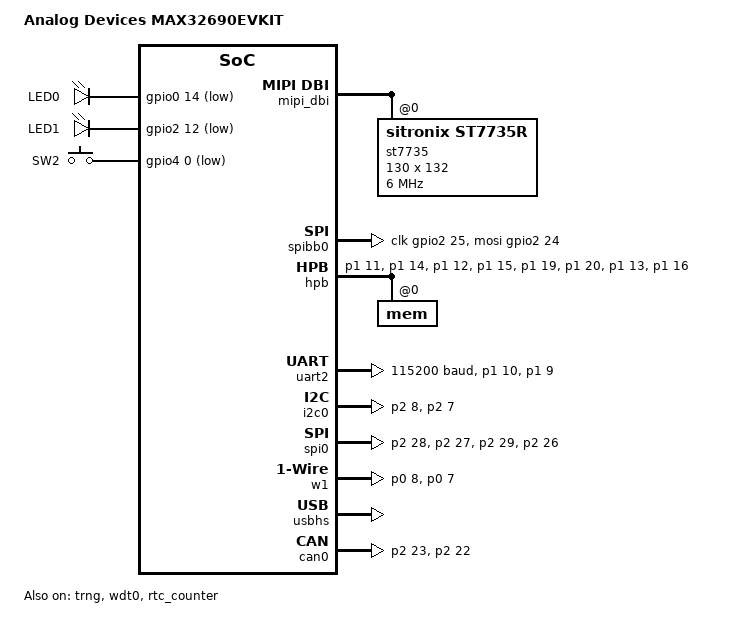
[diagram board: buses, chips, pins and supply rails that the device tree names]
/*
 * Copyright (c) 2023-2025 Analog Devices, Inc.
 *
 * SPDX-License-Identifier: Apache-2.0
 */

/dts-v1/;

#include <adi/max32/max32690.dtsi>
#include <adi/max32/max32690-pinctrl.dtsi>
#include <zephyr/dt-bindings/gpio/adi-max32-gpio.h>
#include <zephyr/dt-bindings/memory-controller/adi-max32-hpb.h>
#include <zephyr/dt-bindings/input/input-event-codes.h>
#include <zephyr/dt-bindings/mipi_dbi/mipi_dbi.h>

/ {
	model = "Analog Devices MAX32690EVKIT";
	compatible = "adi,max32690evkit";

	chosen {
		zephyr,console = &uart2;
		zephyr,shell-uart = &uart2;
		zephyr,sram = &sram0;
		zephyr,flash = &flash0;
		zephyr,display = &st7735;
		zephyr,canbus = &can0;
	};

	leds {
		compatible = "gpio-leds";

		red_led: led_0 {
			gpios = <&gpio0 14 GPIO_ACTIVE_LOW>;
			label = "LED0";
		};

		green_led: led_1 {
			gpios = <&gpio2 12 GPIO_ACTIVE_LOW>;
			label = "LED1";
		};
	};

	buttons {
		compatible = "gpio-keys";

		pb0: pb0 {
			gpios = <&gpio4 0 (GPIO_PULL_UP | GPIO_ACTIVE_LOW)>;
			label = "SW2";
			zephyr,code = <INPUT_KEY_0>;
		};
	};

	aliases {
		led0 = &red_led;
		led1 = &green_led;
		sw0 = &pb0;
		watchdog0 = &wdt0;
	};

	mipi_dbi {
		compatible = "zephyr,mipi-dbi-spi";
		spi-dev = <&spibb0>;
		#address-cells = <1>;
		#size-cells = <0>;

		status = "okay";

		st7735: st7735@0 {
			compatible = "sitronix,st7735r";
			mipi-max-frequency = <DT_FREQ_M(6)>;
			mipi-mode = "MIPI_DBI_MODE_SPI_3WIRE";

			reg = <0>;
			width = <130>;
			height = <132>;
			x-offset = <0>;
			y-offset = <0>;
			madctl = <0xc0>;
			colmod = <0x05>;
			vmctr1 = <0x51>;
			pwctr1 = [02 02];
			pwctr2 = [c5];
			pwctr3 = [0d 00];
			pwctr4 = [8d 1a];
			pwctr5 = [8d ee];
			frmctr1 = [02 35 36];
			frmctr2 = [02 35 36];
			frmctr3 = [02 35 36 02 35 36];
			gamctrp1 = [0a 1c 0c 14 33 2b 24 28 27 25 2c 39 00 05 03 0d];
			gamctrn1 = [0a 1c 0c 14 33 2b 24 28 27 25 2d 3a 00 05 03 0d];
		};
	};

	spibb0: spibb0 {
		compatible = "zephyr,spi-bitbang";
		status = "okay";
		#address-cells = <1>;
		#size-cells = <0>;
		clk-gpios = <&gpio2 25 (GPIO_ACTIVE_HIGH | MAX32_GPIO_VSEL_VDDIOH)>;
		mosi-gpios = <&gpio2 24 (GPIO_ACTIVE_HIGH | MAX32_GPIO_VSEL_VDDIOH)>;
		cs-gpios = <&gpio2 11 (GPIO_ACTIVE_LOW | MAX32_GPIO_VSEL_VDDIOH)>;
	};

	sdram1: sdram1@60000000 {
		compatible = "zephyr,memory-region", "mmio-sram";
		status = "disabled";
		device_type = "memory";
		reg = <0x60000000 DT_SIZE_M(8)>;
		zephyr,memory-region = "SDRAM1";
	};
};

&hpb {
	pinctrl-0 = <&hyp_cs0n_p1_11 &hyp_rwds_p1_14 &hyp_d0_p1_12 &hyp_d1_p1_15
		     &hyp_d2_p1_19 &hyp_d3_p1_20 &hyp_d4_p1_13
		     &hyp_d5_p1_16 &hyp_d6_p1_18 &hyp_d7_p1_21>;
	pinctrl-names = "default";
	enable-emcc;

	mem@0 {
		reg = <0>;
		base-address = <0x60000000>;
		device-type = <ADI_MAX32_HPB_DEV_TYPE_HYPER_RAM>;
		config-regs = <1>;
		config-reg-vals = <2>;
	};
};

&clk_ipo {
	status = "okay";
};

&clk_ibro {
	status = "okay";
};

&gpio0 {
	status = "okay";
};

&gpio1 {
	status = "okay";
};

&gpio2 {
	status = "okay";
};

&gpio3 {
	status = "okay";
};

&gpio4 {
	status = "okay";
};

&uart2 {
	clock-source = <ADI_MAX32_PRPH_CLK_SRC_IBRO>;
	pinctrl-0 = <&uart2a_tx_p1_10 &uart2a_rx_p1_9>;
	pinctrl-names = "default";
	current-speed = <115200>;
	data-bits = <8>;
	parity = "none";
	status = "okay";
};

&trng {
	status = "okay";
};

&i2c0 {
	status = "okay";
	pinctrl-0 = <&i2c0a_scl_p2_8 &i2c0a_sda_p2_7>;
	pinctrl-names = "default";
};

&dma0 {
	status = "okay";
};

&wdt0 {
	status = "okay";
};

&spi0 {
	status = "okay";
	pinctrl-0 = <&spi0b_mosi_p2_28 &spi0b_miso_p2_27 &spi0b_sck_p2_29 &spi0b_ss1_p2_26>;
	pinctrl-names = "default";
};

&w1 {
	pinctrl-0 = <&owm_io_p0_8 &owm_pe_p0_7>;
	pinctrl-names = "default";
};

&rtc_counter {
	status = "okay";
};

zephyr_udc0: &usbhs {
	status = "okay";
};

&can0 {
	status = "okay";
	pinctrl-0 = <&can0b_tx_p2_23 &can0b_rx_p2_22>;
	pinctrl-names = "default";
};
